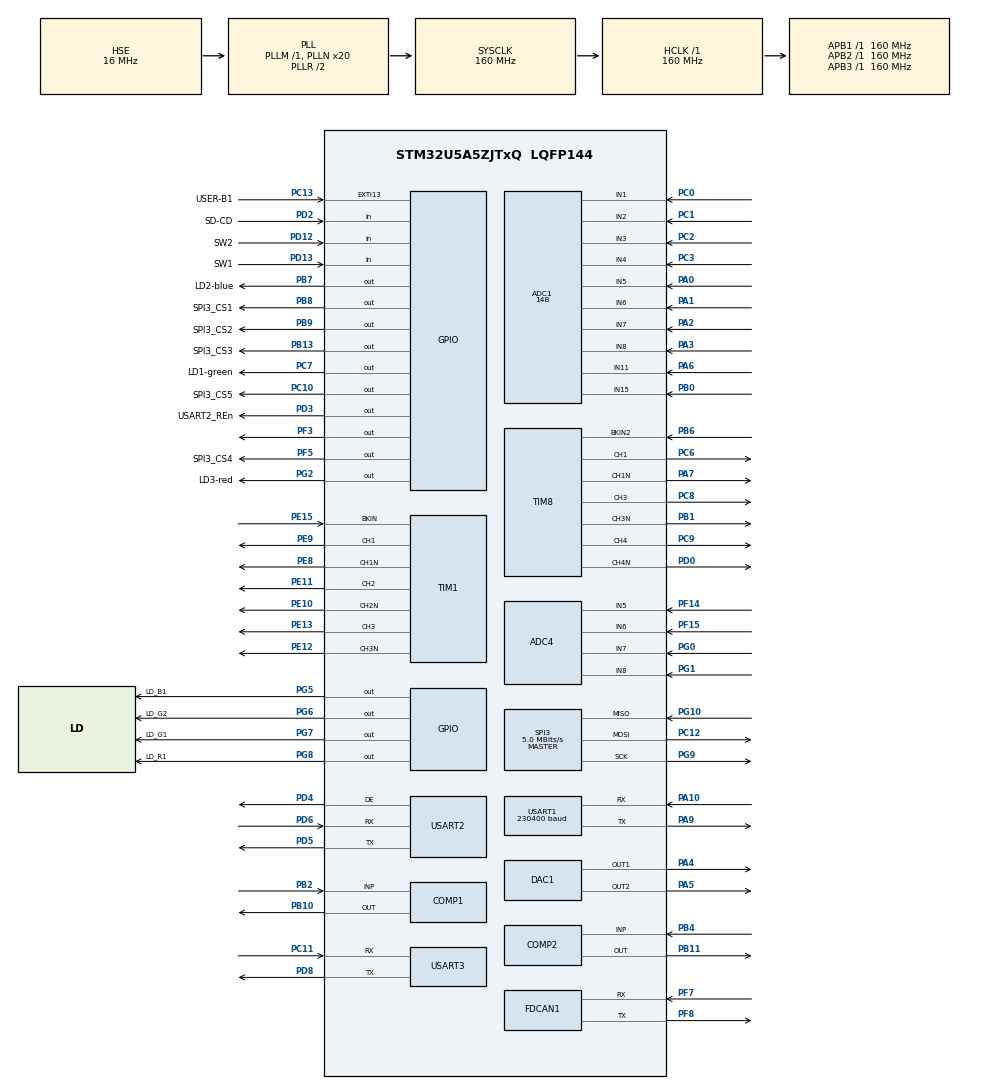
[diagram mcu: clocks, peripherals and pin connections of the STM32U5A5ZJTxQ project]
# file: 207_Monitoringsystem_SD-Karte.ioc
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ADC1.Channel-2\#ChannelRegularConversion=ADC_CHANNEL_1
ADC1.ClockPrescaler=ADC_CLOCK_ASYNC_DIV4
ADC1.ContinuousConvMode=DISABLE
ADC1.ConversionDataManagement=ADC_CONVERSIONDATA_DMA_CIRCULAR
ADC1.EnableInjectedConversion=DISABLE
ADC1.EnableRegularConversion=ENABLE
ADC1.ExternalTrigConv=ADC_EXTERNALTRIG_T3_TRGO
ADC1.MonitoredBy-2\#ChannelRegularConversion=__NULL
ADC1.NbrOfConversionFlag=1
ADC1.OffsetNumber-2\#ChannelRegularConversion=ADC_OFFSET_NONE
ADC1.Rank-2\#ChannelRegularConversion=1
ADC1.Resolution=ADC_RESOLUTION_14B
ADC1.SamplingTime-2\#ChannelRegularConversion=ADC_SAMPLETIME_68CYCLES
ADC1.master=1
ADC4.Channel-0\#ChannelRegularConversion=ADC_CHANNEL_5
ADC4.ClockPrescaler=ADC_CLOCK_ASYNC_DIV4
ADC4.NbrOfConversionFlag=1
ADC4.OffsetNumber-0\#ChannelRegularConversion=ADC_OFFSET_NONE
ADC4.Rank-0\#ChannelRegularConversion=1
ADC4.RankArg-0\#ChannelRegularConversion=ADC4_REGULAR_RANK_1
ADC4.SamplingTime-0\#ChannelRegularConversion=ADC4_SAMPLINGTIME_COMMON_1
ADC4.SelectedChannel=ADC_CHANNEL_5|ADC_CHANNEL_6|ADC_CHANNEL_7|ADC_CHANNEL_8
CORTEX_M33_NS.AccessPermission-Cortex_Memory_Protection_Unit_Region0_Settings=MPU_REGION_PRIV_RO
CORTEX_M33_NS.AccessPermission-Cortex_Memory_Protection_Unit_Region1_Settings=MPU_REGION_ALL_RW
CORTEX_M33_NS.AllocateAttribute0=MPU_R_ALLOCATE
CORTEX_M33_NS.Attributes0=MPU_ATTRIBUTES_NUMBER0
CORTEX_M33_NS.Attributes1=MPU_ATTRIBUTES_NUMBER1
CORTEX_M33_NS.AttributesIndex-Cortex_Memory_Protection_Unit_Region1_Settings=MPU_ATTRIBUTES_NUMBER1
CORTEX_M33_NS.BaseAddress-Cortex_Memory_Protection_Unit_Region0_Settings=0x08000000
CORTEX_M33_NS.BaseAddress-Cortex_Memory_Protection_Unit_Region1_Settings=0x20000000
CORTEX_M33_NS.Enable-Cortex_Memory_Protection_Unit_Region0_Settings=MPU_REGION_ENABLE
CORTEX_M33_NS.Enable-Cortex_Memory_Protection_Unit_Region1_Settings=MPU_REGION_ENABLE
CORTEX_M33_NS.LimitAddress-Cortex_Memory_Protection_Unit_Region0_Settings=0x083FFFFF
CORTEX_M33_NS.LimitAddress-Cortex_Memory_Protection_Unit_Region1_Settings=0x2026FFFF
CORTEX_M33_NS.MPU_Control=MPU_PRIVILEGED_DEFAULT
CORTEX_M33_NS.Memorytype0=MPU_CACHEABLE
CORTEX_M33_NS.Number-Cortex_Memory_Protection_Unit_Region0_Settings=MPU_REGION_NUMBER0
CORTEX_M33_NS.Number-Cortex_Memory_Protection_Unit_Region1_Settings=MPU_REGION_NUMBER1
CORTEX_M33_NS.userName=CORTEX_M33
DAC1.DAC_Channel-DAC_OUT1_ExtAndInt=DAC_CHANNEL_1
DAC1.DAC_Channel-DAC_OUT2_ExtAndInt=DAC_CHANNEL_2
FDCAN1.CalculateBaudRateNominal=3333333
FDCAN1.CalculateTimeBitNominal=300
FDCAN1.CalculateTimeQuantumNominal=100.0
FLASH.B1_BLOCK_active=true
FLASH.B1_endPage=255
FLASH.B2_BLOCK_active=true
FLASH.B2_Bank=FLASH_BANK_2
FLASH.B2_endPage=255
FLASH.OB_Boot_Configuration_active_NS0=true
FLASH.OB_NSBOOTADD0_Address=0x08000000
GPDMA1.CIRCULARMODE_GPDMACH15=ENABLE
GPDMA1.DESTDATAWIDTH_GPDMACH15=DMA_DEST_DATAWIDTH_HALFWORD
GPDMA1.DESTINC_GPDMACH15=DMA_DINC_INCREMENTED
GPDMA1.IPHANDLE_GPDMACH15-SIMPLEREQUEST_GPDMACH15=__NULL
GPDMA1.REQUEST_GPDMACH15=GPDMA1_REQUEST_ADC1
GPDMA1.SRCDATAWIDTH_GPDMACH15=DMA_SRC_DATAWIDTH_HALFWORD
GPDMA1.TRIGGERPOLARITY_GPDMACH15=DMA_TRIG_POLARITY_MASKED
GTZC.MPCBB1_Area_Privilege=GTZC_MPCBB_REGION_NPRIV
GTZC.MPCBB1_Area_Privilege_Choice=from full Privileged
GTZC.MPCBB1_Area_Privilege_Size=0x000C0000
GTZC.MPCBB1_PrivConfig_array=00000000\:00000000\:00000000\:00000000\:00000000\:00000000\:00000000\:00000000\:00000000\:00000000\:00000000\:00000000\:00000000\:00000000\:00000000\:00000000\:00000000\:00000000\:00000000\:00000000\:00000000\:00000000\:00000000\:00000000\:00000000\:00000000\:00000000\:00000000\:00000000\:00000000\:00000000\:00000000\:00000000\:00000000\:00000000\:00000000\:00000000\:00000000\:00000000\:00000000\:00000000\:00000000\:00000000\:00000000\:00000000\:00000000\:00000000\:00000000
GTZC.MPCBB1_SecConfig_array=00000000\:00000000\:00000000\:00000000\:00000000\:00000000\:00000000\:00000000\:00000000\:00000000\:00000000\:00000000\:00000000\:00000000\:00000000\:00000000\:00000000\:00000000\:00000000\:00000000\:00000000\:00000000\:00000000\:00000000\:00000000\:00000000\:00000000\:00000000\:00000000\:00000000\:00000000\:00000000\:00000000\:00000000\:00000000\:00000000\:00000000\:00000000\:00000000\:00000000\:00000000\:00000000\:00000000\:00000000\:00000000\:00000000\:00000000\:00000000
GTZC.MPCBB2_Area_Privilege=GTZC_MPCBB_REGION_NPRIV
GTZC.MPCBB2_Area_Privilege_Choice=from full Privileged
GTZC.MPCBB2_Area_Privilege_Size=0x00010000
GTZC.MPCBB2_PrivConfig_array=00000000\:00000000\:00000000\:00000000\:FFFFFFFF\:FFFFFFFF\:FFFFFFFF\:FFFFFFFF\:FFFFFFFF\:FFFFFFFF\:FFFFFFFF\:FFFFFFFF\:FFFFFFFF\:FFFFFFFF\:FFFFFFFF\:FFFFFFFF\:FFFFFFFF\:FFFFFFFF\:FFFFFFFF\:FFFFFFFF\:FFFFFFFF\:FFFFFFFF\:FFFFFFFF\:FFFFFFFF\:FFFFFFFF\:FFFFFFFF\:FFFFFFFF\:FFFFFFFF\:FFFFFFFF\:FFFFFFFF\:FFFFFFFF\:FFFFFFFF\:FFFFFFFF\:FFFFFFFF\:FFFFFFFF\:FFFFFFFF\:FFFFFFFF\:FFFFFFFF\:FFFFFFFF\:FFFFFFFF\:FFFFFFFF\:FFFFFFFF\:FFFFFFFF\:FFFFFFFF\:FFFFFFFF\:FFFFFFFF\:FFFFFFFF\:FFFFFFFF\:FFFFFFFF\:FFFFFFFF\:FFFFFFFF\:FFFFFFFF
GTZC.MPCBB2_SecConfig_array=00000000\:00000000\:00000000\:00000000\:00000000\:00000000\:00000000\:00000000\:00000000\:00000000\:00000000\:00000000\:00000000\:00000000\:00000000\:00000000\:00000000\:00000000\:00000000\:00000000\:00000000\:00000000\:00000000\:00000000\:00000000\:00000000\:00000000\:00000000\:00000000\:00000000\:00000000\:00000000\:00000000\:00000000\:00000000\:00000000\:00000000\:00000000\:00000000\:00000000\:00000000\:00000000\:00000000\:00000000\:00000000\:00000000\:00000000\:00000000\:00000000\:00000000\:00000000\:00000000
GTZC.MPCBB3_Area_Privilege=GTZC_MPCBB_REGION_NPRIV
GTZC.MPCBB3_Area_Privilege_Choice=from full Privileged
GTZC.MPCBB3_Area_Privilege_Size=0x000D0000
GTZC.MPCBB3_PrivConfig_array=00000000\:00000000\:00000000\:00000000\:00000000\:00000000\:00000000\:00000000\:00000000\:00000000\:00000000\:00000000\:00000000\:00000000\:00000000\:00000000\:00000000\:00000000\:00000000\:00000000\:00000000\:00000000\:00000000\:00000000\:00000000\:00000000\:00000000\:00000000\:00000000\:00000000\:00000000\:00000000\:00000000\:00000000\:00000000\:00000000\:00000000\:00000000\:00000000\:00000000\:00000000\:00000000\:00000000\:00000000\:00000000\:00000000\:00000000\:00000000\:00000000\:00000000\:00000000\:00000000
GTZC.MPCBB3_SecConfig_array=00000000\:00000000\:00000000\:00000000\:00000000\:00000000\:00000000\:00000000\:00000000\:00000000\:00000000\:00000000\:00000000\:00000000\:00000000\:00000000\:00000000\:00000000\:00000000\:00000000\:00000000\:00000000\:00000000\:00000000\:00000000\:00000000\:00000000\:00000000\:00000000\:00000000\:00000000\:00000000\:00000000\:00000000\:00000000\:00000000\:00000000\:00000000\:00000000\:00000000\:00000000\:00000000\:00000000\:00000000\:00000000\:00000000\:00000000\:00000000\:00000000\:00000000\:00000000\:00000000
GTZC.MPCBB4_PrivConfig_array=00000000
GTZC.MPCBB4_SecConfig_array=00000000
GTZC.MPCBB5_Area_Privilege=GTZC_MPCBB_REGION_NPRIV
GTZC.MPCBB5_Area_Privilege_Choice=from full Privileged
GTZC.MPCBB5_Area_Privilege_Size=0x000D0000
GTZC.MPCBB5_PrivConfig_array=00000000\:00000000\:00000000\:00000000\:00000000\:00000000\:00000000\:00000000\:00000000\:00000000\:00000000\:00000000\:00000000\:00000000\:00000000\:00000000\:00000000\:00000000\:00000000\:00000000\:00000000\:00000000\:00000000\:00000000\:00000000\:00000000\:00000000\:00000000\:00000000\:00000000\:00000000\:00000000\:00000000\:00000000\:00000000\:00000000\:00000000\:00000000\:00000000\:00000000\:00000000\:00000000\:00000000\:00000000\:00000000\:00000000\:00000000\:00000000\:00000000\:00000000\:00000000\:00000000
GTZC.MPCBB5_SecConfig_array=00000000\:00000000\:00000000\:00000000\:00000000\:00000000\:00000000\:00000000\:00000000\:00000000\:00000000\:00000000\:00000000\:00000000\:00000000\:00000000\:00000000\:00000000\:00000000\:00000000\:00000000\:00000000\:00000000\:00000000\:00000000\:00000000\:00000000\:00000000\:00000000\:00000000\:00000000\:00000000\:00000000\:00000000\:00000000\:00000000\:00000000\:00000000\:00000000\:00000000\:00000000\:00000000\:00000000\:00000000\:00000000\:00000000\:00000000\:00000000\:00000000\:00000000\:00000000\:00000000
Mcu.Family=STM32U5
Mcu.Name=STM32U5A5ZJTxQ
Mcu.Package=LQFP144
NVIC.ADC1_2_IRQn=true\:0\:0\:false\:false\:true\:true\:true\:true
NVIC.EXTI13_IRQn=true\:2\:0\:true\:false\:true\:true\:true\:true
NVIC.GPDMA1_Channel15_IRQn=true\:0\:0\:false\:false\:true\:false\:true\:true
NVIC.PriorityGroup=NVIC_PRIORITYGROUP_4
NVIC.TIM3_IRQn=true\:1\:0\:true\:false\:true\:true\:true\:true
PA0.Mode=IN5-Single-Ended
PA0.Signal=ADC1_IN5
PA1.Mode=IN6-Single-Ended
PA1.Signal=ADC1_IN6
PA10.Mode=Asynchronous
PA10.Signal=USART1_RX
PA13\ (JTMS/SWDIO).Mode=Trace_Asynchronous_SW
PA13\ (JTMS/SWDIO).Signal=DEBUG_JTMS-SWDIO
PA14\ (JTCK/SWCLK).Mode=Trace_Asynchronous_SW
PA14\ (JTCK/SWCLK).Signal=DEBUG_JTCK-SWCLK
PA2.Mode=IN7-Single-Ended
PA2.Signal=ADC1_IN7
PA3.Mode=IN8-Single-Ended
PA3.Signal=ADC1_IN8
PA4.Signal=COMP_DAC11_group
PA5.Signal=COMP_DAC12_group
PA6.Mode=IN11-Single-Ended
PA6.Signal=ADC1_IN11
PA7.Mode=PWM Generation1 CH1 CH1N
PA7.Signal=TIM8_CH1N
PA9.Mode=Asynchronous
PA9.Signal=USART1_TX
PB0.Mode=IN15-Single-Ended
PB0.Signal=ADC1_IN15
PB1.Mode=PWM Generation3 CH3 CH3N
PB1.Signal=TIM8_CH3N
PB10.Mode=ExternalOutput
PB10.Signal=COMP1_OUT
PB11.Mode=ExternalOutput
PB11.Signal=COMP2_OUT
PB13.GPIO_Label=SPI3_CS3
PB13.Signal=GPIO_Output
PB2.Mode=INP
PB2.Signal=COMP1_INP
PB3\ (JTDO/TRACESWO).Mode=Trace_Asynchronous_SW
PB3\ (JTDO/TRACESWO).Signal=DEBUG_JTDO-SWO
PB4\ (NJTRST).Mode=INP
PB4\ (NJTRST).Signal=COMP2_INP
PB6.Mode=Activate-Break-Input-2
PB6.Signal=TIM8_BKIN2
PB7.GPIO_Label=LD2-blue
PB7.Signal=GPIO_Output
PB8.GPIO_Label=SPI3_CS1
PB8.PinState=GPIO_PIN_SET
PB8.Signal=GPIO_Output
PB9.GPIO_Label=SPI3_CS2
PB9.Signal=GPIO_Output
PC0.Mode=IN1-Single-Ended
PC0.Signal=ADC1_IN1
PC1.Mode=IN2-Single-Ended
PC1.Signal=ADC1_IN2
PC10.GPIO_Label=SPI3_CS5
PC10.Signal=GPIO_Output
PC11.Mode=Asynchronous
PC11.Signal=USART3_RX
PC12.Mode=Full_Duplex_Master
PC12.Signal=SPI3_MOSI
PC13.GPIO_Label=USER-B1
PC13.GPIO_PuPd=GPIO_NOPULL
PC13.Signal=GPXTI13
PC14-OSC32_IN\ (PC14).Mode=LSE-External-Oscillator
PC14-OSC32_IN\ (PC14).Signal=RCC_OSC32_IN
PC15-OSC32_OUT\ (PC15).Mode=LSE-External-Oscillator
PC15-OSC32_OUT\ (PC15).Signal=RCC_OSC32_OUT
PC2.Mode=IN3-Single-Ended
PC2.Signal=ADC1_IN3
PC3.Mode=IN4-Single-Ended
PC3.Signal=ADC1_IN4
PC6.Signal=S_TIM8_CH1
PC7.GPIO_Label=LD1-green
PC7.Signal=GPIO_Output
PC8.Signal=S_TIM8_CH3
PC9.Signal=S_TIM8_CH4
PD0.Mode=PWM Generation4 CH4 CH4N
PD0.Signal=TIM8_CH4N
PD12.GPIO_Label=SW2
PD12.Signal=GPIO_Input
PD13.GPIO_Label=SW1
PD13.Signal=GPIO_Input
PD2.GPIO_Label=SD-CD
PD2.Signal=GPIO_Input
PD3.GPIO_Label=USART2_REn
PD3.Signal=GPIO_Output
PD4.Mode=Hardware Flow Control (RS485)
PD4.Signal=USART2_DE
PD5.Mode=Asynchronous
PD5.Signal=USART2_TX
PD6.Mode=Asynchronous
PD6.Signal=USART2_RX
PD8.Mode=Asynchronous
PD8.Signal=USART3_TX
PE10.Mode=PWM Generation2 CH2 CH2N
PE10.Signal=TIM1_CH2N
PE11.Signal=S_TIM1_CH2
PE12.Mode=PWM Generation3 CH3 CH3N
PE12.Signal=TIM1_CH3N
PE13.Signal=S_TIM1_CH3
PE15.Mode=Activate-Break-Input
PE15.Signal=TIM1_BKIN
PE8.Mode=PWM Generation1 CH1 CH1N
PE8.Signal=TIM1_CH1N
PE9.Signal=S_TIM1_CH1
PF14.Mode=IN5
PF14.Signal=ADC4_IN5
PF15.Mode=IN6
PF15.Signal=ADC4_IN6
PF3.Signal=GPIO_Output
PF5.GPIO_Label=SPI3_CS4
PF5.Signal=GPIO_Output
PF7.Mode=FDCAN_Activate
PF7.Signal=FDCAN1_RX
PF8.Mode=FDCAN_Activate
PF8.Signal=FDCAN1_TX
PG0.Mode=IN7
PG0.Signal=ADC4_IN7
PG1.Mode=IN8
PG1.Signal=ADC4_IN8
PG10.GPIO_PuPd=GPIO_PULLUP
PG10.Mode=Full_Duplex_Master
PG10.Signal=SPI3_MISO
PG2.GPIO_Label=LD3-red
PG2.Signal=GPIO_Output
PG5.GPIO_Label=LD_B1
PG5.Signal=GPIO_Output
PG6.GPIO_Label=LD_G2
PG6.Signal=GPIO_Output
PG7.GPIO_Label=LD_G1
PG7.Signal=GPIO_Output
PG8.GPIO_Label=LD_R1
PG8.Signal=GPIO_Output
PG9.Mode=Full_Duplex_Master
PG9.Signal=SPI3_SCK
PH0-OSC_IN\ (PH0).Mode=HSE-External-Oscillator
PH0-OSC_IN\ (PH0).Signal=RCC_OSC_IN
PH1-OSC_OUT\ (PH1).Mode=HSE-External-Oscillator
PH1-OSC_OUT\ (PH1).Signal=RCC_OSC_OUT
PWR.PowerMode=PWR_SMPS_SUPPLY
ProjectManager.HeapSize=0x2000
ProjectManager.StackSize=0x2000
ProjectManager.TargetToolchain=STM32CubeIDE
RCC.ADCCLockSelection=RCC_ADCDACCLKSOURCE_SYSCLK
RCC.ADCFreq_Value=160000000
RCC.AHBFreq_Value=160000000
RCC.APB1Freq_Value=160000000
RCC.APB1TimFreq_Value=160000000
RCC.APB2Freq_Value=160000000
RCC.APB2TimFreq_Value=160000000
RCC.APB3Freq_Value=160000000
RCC.CortexFreq_Value=160000000
RCC.DACCLockSelectionVirtual=RCC_DAC1CLKSOURCE_LSI
RCC.EPOD_VALUE=16000000
RCC.HCLKFreq_Value=160000000
RCC.HSE_VALUE=16000000
RCC.HSI48_VALUE=48000000
RCC.HSI_VALUE=16000000
RCC.LSIDIV_VALUE=32000
RCC.MSIClockRange=RCC_MSIRANGE_0
RCC.MSI_VALUE=48000000
RCC.PLLFRACN=0
RCC.PLLN=20
RCC.PLLSourceVirtual=RCC_PLLSOURCE_HSE
RCC.SYSCLKFreq_VALUE=160000000
RCC.SYSCLKSource=RCC_SYSCLKSOURCE_PLLCLK
RCC.USBPHYCLockSelection=RCC_USBPHYCLKSOURCE_HSE
RCC.VCOOutputFreq_Value=320000000
SH.COMP_DAC11_group.0=DAC1_OUT1,DAC_OUT1_ExtAndInt
SH.COMP_DAC12_group.0=DAC1_OUT2,DAC_OUT2_ExtAndInt
SH.S_TIM1_CH1.0=TIM1_CH1,PWM Generation1 CH1 CH1N
SH.S_TIM1_CH2.0=TIM1_CH2,PWM Generation2 CH2 CH2N
SH.S_TIM1_CH3.0=TIM1_CH3,PWM Generation3 CH3 CH3N
SH.S_TIM8_CH1.0=TIM8_CH1,PWM Generation1 CH1 CH1N
SH.S_TIM8_CH3.0=TIM8_CH3,PWM Generation3 CH3 CH3N
SH.S_TIM8_CH4.0=TIM8_CH4,PWM Generation4 CH4 CH4N
SPI3.BaudRatePrescaler=SPI_BAUDRATEPRESCALER_32
SPI3.CLKPhase=SPI_PHASE_2EDGE
SPI3.CLKPolarity=SPI_POLARITY_LOW
SPI3.CalculateBaudRate=5.0 MBits/s
SPI3.DataSize=SPI_DATASIZE_8BIT
SPI3.Direction=SPI_DIRECTION_2LINES
SPI3.Mode=SPI_MODE_MASTER
SPI3.VirtualType=VM_MASTER
STMicroelectronics.X-CUBE-ALGOBUILD.1.4.0.LibraryCcDSPOoLibraryJjDSPOoLibrary=true
TIM1.Channel-PWM\ Generation1\ CH1\ CH1N=TIM_CHANNEL_1
TIM1.Channel-PWM\ Generation2\ CH2\ CH2N=TIM_CHANNEL_2
TIM1.Channel-PWM\ Generation3\ CH3\ CH3N=TIM_CHANNEL_3
TIM1.SourceBRK2COMP1=TIM_BREAKINPUTSOURCE_DISABLE
TIM1.SourceBRKCOMP1=TIM_BREAKINPUTSOURCE_ENABLE
TIM3.PeriodNoDither=160 - 1
TIM3.Prescaler=10 - 1
TIM3.TIM_MasterOutputTrigger=TIM_TRGO_UPDATE
TIM8.AutomaticOutput=TIM_AUTOMATICOUTPUT_DISABLE
TIM8.Channel-PWM\ Generation1\ CH1\ CH1N=TIM_CHANNEL_1
TIM8.Channel-PWM\ Generation3\ CH3\ CH3N=TIM_CHANNEL_3
TIM8.Channel-PWM\ Generation4\ CH4\ CH4N=TIM_CHANNEL_4
TIM8.SourceBRK2COMP2=TIM_BREAKINPUTSOURCE_ENABLE
TIM8.SourceBRKCOMP2=TIM_BREAKINPUTSOURCE_ENABLE
USART1.BaudRate=230400
USART1.OverSampling=UART_OVERSAMPLING_16
USART1.VirtualMode-Asynchronous=VM_ASYNC
USART2.VirtualMode-Asynchronous=VM_ASYNC
USART2.VirtualMode-Hardware\ Flow\ Control\ (RS485)=VM_ASYNC
USART3.VirtualMode-Asynchronous=VM_ASYNC
VP_COMP1_VS_DACOUT1.Mode=INM_DACOUT1
VP_COMP2_VS_DACOUT2.Mode=INM_DACOUT2
VP_FLASH_SIG_Activate_FlashIP.Mode=Activate_FlashIP
VP_GPDMA1_VS_GPDMACH15.Mode=SIMPLEREQUEST_GPDMACH15
VP_GTZC_VS_GTZC_Enable.Mode=GTZC_Enable
VP_ICACHE_VS_ICACHE.Mode=DirectMappedCache
VP_LPBAMQUEUE_VS_QUEUE.Mode=QUEUEMODE
VP_MEMORYMAP_VS_MEMORYMAP.Mode=CurAppReg
VP_PWR_VS_DBSignals.Mode=DisableDeadBatterySignals
VP_PWR_VS_LPOM.Mode=PowerOptimisation
VP_PWR_VS_SECSignals.Mode=Security/Privilege
VP_PWR_Vdda.Mode=isolationVdda
VP_STMicroelectronics.X-CUBE-ALGOBUILD_VS_DSPOoLibraryJjLibrary_1.4.0_1.4.0.Mode=DSPOoLibraryJjLibrary
VP_TIM1_VS_ClockSourceINT.Mode=Internal
VP_TIM3_VS_ClockSourceINT.Mode=Internal
board=NUCLEO-U5A5ZJ-Q

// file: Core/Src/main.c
/* USER CODE BEGIN Header */
/**
 * @file main.c
 * @brief <b>Monitoringsystem für Medicoat</b>
 * @author Raphael Baumeler
 * @date 09.04.2026
 *
 * In diesem Skript kann die FFT mit dem NUCLEO Board berechnet werden und mit den
 * Oszilloskop Werten verglichen werden.
 *
 * Beschreibung Monitoringsystem
 * - Das Monitoringsystem wird über den blauen Button gestartet (SWV Output beachten)
 * - Das ADC Sampling erfolgt mit 100 kHz am PC0 bzw. J1 auf dem PCB
 * - Die Samplingfrequenz kann am PF3 gemessen werden
 * - Nach dem Sampling wird die FFT berechnet
 * - Anschliessend erfolgt die Datenübertragung via VCP (PA9 und PA10)
 *
 * Vergleich FFT Oszilloskop mit FFT STM32
 * - Spannungssignal am Anschluss J1 (0...2V) anschliessen und parallel mit Oszilloskop messen.
 * - ADC-Trigger am PF3 mit Oszilloskop messen.
 * - Trigger auf ADC-Trigger Signal setzen und Single Shot auswählen.
 * - Oszilloskop via Ethernet und uC via USB mit Laptop verbinden (IP-Konfiguration beachten).
 * - Matlab main.m aus dem Projektverzeichnis starten.
 * - Blauer Button am NUCLEO Board betätigen.
 * - FFT wird berechnet und das Zeitsignal wie die Amplitudenwerte der berechneten FFT werden zu
 *   Matlab übertragen und in einem Plot Fenster dargestellt.
 * - Nachdem main.m durchgelaufen ist das zweite Skript readwaveform_teledyne.m starten für
 *   den direkten Vergleich zwischen Teledyne und STM32 FFT
 *
 * @note Aufgrund der hohen Abtastfrequenz muss vor PC0 ein Buffer geschaltet werden, welcher den ADC Pin treibt!
 */
/* USER CODE END Header */
#include "main.h"
#include "adc.h"
#include "comp.h"
#include "dac.h"
#include "fdcan.h"
#include "flash.h"
#include "gpdma.h"
#include "gtzc.h"
#include "icache.h"
#include "spi.h"
#include "tim.h"
#include "usart.h"
#include "gpio.h"

/* USER CODE BEGIN Includes */
#include "statemachine.h"
#include "user_diskio_spi.h"
#include "ff.h"
#include "ff_gen_drv.h"
#include "user_diskio.h"
/* USER CODE END Includes */

/* USER CODE BEGIN PV */
/**
 * @brief Quadrant Nummer DMA Übertragung
 */
int qNr = 1;
/**
 * @brief Anfangs State
 */
State_t curr_state = IDLE;
/**
 * @brief Anfangs Event
 */
Event_t curr_event = EVENT_NONE;

/* USER CODE END PV */

void SystemClock_Config(void);
static void SystemPower_Config(void);
static void MPU_Config(void);
/* USER CODE BEGIN PFP */
/**
 * @brief ADC Callback. Wenn der DMA die Daten übertragen hat wird diese Funktion aufgerufen.
 *
 * @param hadc Zeiger auf ADC Handle
 * @note Pro DMA Übertragung können maximal 2^14 = 16384 Werte übertragen werden. Wenn DMA gestartet
 * wird z.B. via HAL_ADC_Start_DMA(&hadc1, (uint32_t*) adc_val, N); muss beachtet werden, dass N <= 16384!
 * Wenn dem nicht so ist, müssen die DMA übertragungen auf mehrere Übertragungen aufgeteilt werden!
 * Beispiel:
 *	1. HAL_ADC_Start_DMA(&hadc1, (uint32_t*) &adc_val[0], (N/2));<br>
 *	Sobald 1. Übertragung abgeschlossen ist 2. Übertragung starten.<br>
 *	2. HAL_ADC_Start_DMA(&hadc1, (uint32_t*) &adc_val[N/2], (N/2));
 */
void HAL_ADC_ConvCpltCallback(ADC_HandleTypeDef *hadc);

/**
 * @brief Timer Callback. Der Timer 3 triggert den ADC und toggelt PF3.
 *
 * @param htim Zeiger auf Timer Handle
 * @note Dieser Callback Triggert den ADC für eine konstante Abtastfrequenz. Diese Frequenz kann über die PSC und ARR
 * Werte verändert werden. Er soll nur verwendet werden, wenn die Abtastfrequenz am Oszilloskop
 * überprüft werden soll, da damit die CPU bei hoher Triggerfrequenz stark ausgelastet wird.
 */
void HAL_TIM_PeriodElapsedCallback(TIM_HandleTypeDef *htim);

/**
 * @brief GPIO Callback. Wenn der User B1 (blau) auf dem NUCLEO Board gedrückt wird, wird dieser Callback
 * aufgerufen.
 *
 * @param GPIO_Pin
 * @note In diesem Callback wird nacheinander das ADC Sampling gestartet und die FFT ausgeführt. Was genau passiert
 * kann mit der SWV Konsole überprüft werden.
 */
void HAL_GPIO_EXTI_Rising_Callback(uint16_t GPIO_Pin);
/* USER CODE END PFP */

int main(void)
{

  /* MCU Configuration--------------------------------------------------------*/

  /* MPU Configuration--------------------------------------------------------*/
  MPU_Config();

  /* Reset of all peripherals, Initializes the Flash interface and the Systick. */
  HAL_Init();

  /* Configure the System Power */
  SystemPower_Config();

  /* Configure the system clock */
  SystemClock_Config();
  /* GTZC initialisation */
  MX_GTZC_Init();

  /* Initialize all configured peripherals */
  MX_GPIO_Init();
  MX_GPDMA1_Init();
  MX_ICACHE_Init();
  MX_FLASH_Init();
  MX_ADC1_Init();
  MX_ADC4_Init();
  MX_COMP1_Init();
  MX_COMP2_Init();
  MX_DAC1_Init();
  MX_FDCAN1_Init();
  MX_TIM1_Init();
  MX_TIM8_Init();
  MX_USART3_UART_Init();
  MX_USART1_UART_Init();
  MX_TIM3_Init();
  MX_SPI3_Init();
  MX_USART2_UART_Init();
  /* USER CODE BEGIN 2 */

  // Monitoringsystem bereit zum ausführen
  // StateMachine(&curr_state, &curr_event);

  // Modifiziere SPI
  hspi3.Init.CLKPhase = SPI_PHASE_1EDGE; // Für SD-Karte SPI_PHASE_1EDGE
  if (HAL_SPI_Init(&hspi3) != HAL_OK)
  {
    Error_Handler();
  }

  // Inizialisiere SD-Karte
  if (USER_SPI_initialize(0) == 0)
  {
      _print_SWV("SD Init OK\r\n");
  }
  else
  {
	  _print_SWV("SD Init Fehler\r\n");
  }

  // Testdatei erzeugen
  char SDPath[4];

  FATFS sd_fs;
  FIL sd_fil;	// Dateihandle
  UINT sd_bw;	// Anzahl geschriebener Bytes

  FATFS_LinkDriver(&USER_Driver, SDPath);
  f_mount(&sd_fs, SDPath, 1);

  f_open(&sd_fil, "0:/test.csv", FA_CREATE_ALWAYS | FA_WRITE);
  f_write(&sd_fil, "7,8\r\n", 5, &sd_bw);
  f_close(&sd_fil);

  /* USER CODE END 2 */

  /* Infinite loop */
	while (1) {

    /* USER CODE BEGIN 3 */
		// StateMachine(&curr_state, &curr_event);
	}
  /* USER CODE END 3 */
}

void SystemClock_Config(void)
{
  RCC_OscInitTypeDef RCC_OscInitStruct = {0};
  RCC_ClkInitTypeDef RCC_ClkInitStruct = {0};

  /** Configure the main internal regulator output voltage
  */
  if (HAL_PWREx_ControlVoltageScaling(PWR_REGULATOR_VOLTAGE_SCALE1) != HAL_OK)
  {
    Error_Handler();
  }

  /** Initializes the CPU, AHB and APB buses clocks
  */
  RCC_OscInitStruct.OscillatorType = RCC_OSCILLATORTYPE_LSI|RCC_OSCILLATORTYPE_HSE;
  RCC_OscInitStruct.HSEState = RCC_HSE_ON;
  RCC_OscInitStruct.LSIState = RCC_LSI_ON;
  RCC_OscInitStruct.LSIDiv = RCC_LSI_DIV1;
  RCC_OscInitStruct.PLL.PLLState = RCC_PLL_ON;
  RCC_OscInitStruct.PLL.PLLSource = RCC_PLLSOURCE_HSE;
  RCC_OscInitStruct.PLL.PLLMBOOST = RCC_PLLMBOOST_DIV1;
  RCC_OscInitStruct.PLL.PLLM = 1;
  RCC_OscInitStruct.PLL.PLLN = 20;
  RCC_OscInitStruct.PLL.PLLP = 2;
  RCC_OscInitStruct.PLL.PLLQ = 2;
  RCC_OscInitStruct.PLL.PLLR = 2;
  RCC_OscInitStruct.PLL.PLLRGE = RCC_PLLVCIRANGE_1;
  RCC_OscInitStruct.PLL.PLLFRACN = 0;
  if (HAL_RCC_OscConfig(&RCC_OscInitStruct) != HAL_OK)
  {
    Error_Handler();
  }

  /** Initializes the CPU, AHB and APB buses clocks
  */
  RCC_ClkInitStruct.ClockType = RCC_CLOCKTYPE_HCLK|RCC_CLOCKTYPE_SYSCLK
                              |RCC_CLOCKTYPE_PCLK1|RCC_CLOCKTYPE_PCLK2
                              |RCC_CLOCKTYPE_PCLK3;
  RCC_ClkInitStruct.SYSCLKSource = RCC_SYSCLKSOURCE_PLLCLK;
  RCC_ClkInitStruct.AHBCLKDivider = RCC_SYSCLK_DIV1;
  RCC_ClkInitStruct.APB1CLKDivider = RCC_HCLK_DIV1;
  RCC_ClkInitStruct.APB2CLKDivider = RCC_HCLK_DIV1;
  RCC_ClkInitStruct.APB3CLKDivider = RCC_HCLK_DIV1;

  if (HAL_RCC_ClockConfig(&RCC_ClkInitStruct, FLASH_LATENCY_4) != HAL_OK)
  {
    Error_Handler();
  }
}

/**
  * @brief Power Configuration
  * @retval None
  */
static void SystemPower_Config(void)
{
  HAL_PWREx_EnableVddIO2();

  /*
   * Disable the internal Pull-Up in Dead Battery pins of UCPD peripheral
   */
  HAL_PWREx_DisableUCPDDeadBattery();

  /*
   * Switch to SMPS regulator instead of LDO
   */
  if (HAL_PWREx_ConfigSupply(PWR_SMPS_SUPPLY) != HAL_OK)
  {
    Error_Handler();
  }
}

/* USER CODE BEGIN 4 */

void HAL_ADC_ConvCpltCallback(ADC_HandleTypeDef *hadc) {
	switch (qNr) {
	case 1:
		// Erster Viertel übertragen -> zweiter Viertel starten
		HAL_ADC_Stop_DMA(&hadc1);
		HAL_ADC_Start_DMA(&hadc1, (uint32_t*) &adc_val[(1 * N) / 4],
				(int) (N / 4));
		qNr = 2;
		break;
	case 2:
		// Zweiter Viertel übertragen -> dritter Viertel starten
		HAL_ADC_Stop_DMA(&hadc1);
		HAL_ADC_Start_DMA(&hadc1, (uint32_t*) &adc_val[(2 * N) / 4],
				(int) (N / 4));
		qNr = 3;
		break;
	case 3:
		// Dritter Viertel übertragen -> Letzer Viertel starten
		HAL_ADC_Stop_DMA(&hadc1);
		HAL_ADC_Start_DMA(&hadc1, (uint32_t*) &adc_val[(3 * N) / 4],
				(int) (N / 4));
		qNr = 4;
		break;
	case 4:
		// Buffer komplett gefüllt
		HAL_ADC_Stop_DMA(&hadc1);
		HAL_TIM_Base_Stop_IT(&htim3);
		// Set Pin Low
		// HAL_GPIO_WritePin(GPIOF, GPIO_PIN_3, 0);
		// Reset
		qNr = 1;
		// State Machine
		curr_event = EVENT_SAMPLING_DONE;
		break;
	}
}

void HAL_TIM_PeriodElapsedCallback(TIM_HandleTypeDef *htim) {
	// PF3 Toggeln
	HAL_GPIO_TogglePin(GPIOF, GPIO_PIN_3);
}

void HAL_GPIO_EXTI_Rising_Callback(uint16_t GPIO_Pin) {
	// Button Interrupt deaktivieren
	HAL_NVIC_DisableIRQ(EXTI13_IRQn);

	// ADC Trigger und DMA starten
	__HAL_TIM_SET_COUNTER(&htim3,0);
	HAL_TIM_Base_Start_IT(&htim3);
	HAL_ADC_Start_DMA(&hadc1, (uint32_t*) &adc_val[0], (int) (N / 4));

	// Set Pin High
	// HAL_GPIO_WritePin(GPIOF, GPIO_PIN_3, 1);
	HAL_GPIO_WritePin(LD1_green_GPIO_Port, LD1_green_Pin, 1);

	// State Machine
	curr_event = EVENT_BLUE_BUTTON;
}

/* USER CODE END 4 */

 /* MPU Configuration */

void MPU_Config(void)
{
  MPU_Region_InitTypeDef MPU_InitStruct = {0};
  MPU_Attributes_InitTypeDef MPU_AttributesInit = {0};

  /* Disables the MPU */
  HAL_MPU_Disable();

  /** Initializes and configures the Region 0 and the memory to be protected
  */
  MPU_InitStruct.Enable = MPU_REGION_ENABLE;
  MPU_InitStruct.Number = MPU_REGION_NUMBER0;
  MPU_InitStruct.BaseAddress = 0x08000000;
  MPU_InitStruct.LimitAddress = 0x083FFFFF;
  MPU_InitStruct.AttributesIndex = MPU_ATTRIBUTES_NUMBER0;
  MPU_InitStruct.AccessPermission = MPU_REGION_PRIV_RO;
  MPU_InitStruct.DisableExec = MPU_INSTRUCTION_ACCESS_ENABLE;
  MPU_InitStruct.IsShareable = MPU_ACCESS_NOT_SHAREABLE;

  HAL_MPU_ConfigRegion(&MPU_InitStruct);

  /** Initializes and configures the Region 1 and the memory to be protected
  */
  MPU_InitStruct.Number = MPU_REGION_NUMBER1;
  MPU_InitStruct.BaseAddress = 0x20000000;
  MPU_InitStruct.LimitAddress = 0x2026FFFF;
  MPU_InitStruct.AttributesIndex = MPU_ATTRIBUTES_NUMBER1;
  MPU_InitStruct.AccessPermission = MPU_REGION_ALL_RW;

  HAL_MPU_ConfigRegion(&MPU_InitStruct);

  /** Initializes and configures the Attribute 0 and the memory to be protected
  */
  MPU_AttributesInit.Number = MPU_ATTRIBUTES_NUMBER0;
  MPU_AttributesInit.Attributes = INNER_OUTER(MPU_WRITE_THROUGH|MPU_TRANSIENT
                              |MPU_R_ALLOCATE);

  HAL_MPU_ConfigMemoryAttributes(&MPU_AttributesInit);

  /** Initializes and configures the Attribute 1 and the memory to be protected
  */
  MPU_AttributesInit.Number = MPU_ATTRIBUTES_NUMBER1;
  MPU_AttributesInit.Attributes = INNER_OUTER(MPU_NOT_CACHEABLE);

  HAL_MPU_ConfigMemoryAttributes(&MPU_AttributesInit);
  /* Enables the MPU */
  HAL_MPU_Enable(MPU_PRIVILEGED_DEFAULT);

}

void Error_Handler(void)
{
	__disable_irq();
	while (1) {
	}
}
